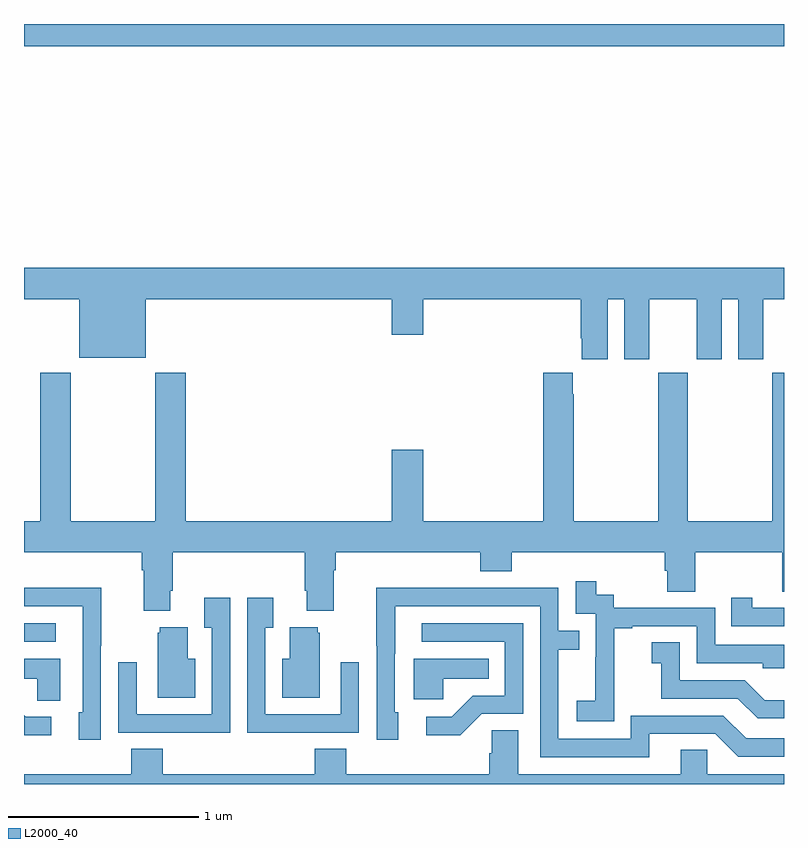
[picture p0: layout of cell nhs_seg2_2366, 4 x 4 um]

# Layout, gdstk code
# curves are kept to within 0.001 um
import gdstk
lib = gdstk.Library(unit=1e-6, precision=1e-09)
def R(c, l, rs):  # rectangles x0, y0, x1, y1
    for r in rs: c.add(gdstk.rectangle(r[:2], r[2:], *l))
def P(c, l, *ps):  # polygons
    for p in ps: c.add(gdstk.Polygon(p, *l))
L2000_40 = (2000, 40)

nhs_seg2_2366 = lib.new_cell('nhs_seg2_2366')
R(nhs_seg2_2366, L2000_40, [(235,596.55,235.168,596.646), (235,599.684,239,599.8)])
P(nhs_seg2_2366, L2000_40, [(238.072,598.352),(238.16,598.352),(238.16,598.035),(238.291,598.035),(238.291,598.352),(238.541,598.352),(238.541,598.035),(238.672,598.035),(238.672,598.352),(238.76,598.352),(238.76,598.035),(238.891,598.035),(238.891,598.352),(239,598.352),(239,598.516),(235,598.516),(235,598.352),(235.292,598.352),(235.292,598.043),(235.642,598.043),(235.642,598.352),(236.936,598.352),(236.936,598.164),(237.1,598.164),(237.1,598.352),(237.929,598.352),(237.929,598.147),(237.935,598.147),(237.935,598.035),(238.072,598.035)],
  [(238.533,597.02),(238.99,597.02),(238.99,596.812),(239,596.812),(239,597.964),(238.939,597.964),(238.939,597.184),(238.494,597.184),(238.494,597.964),(238.339,597.964),(238.339,597.184),(237.894,597.184),(237.894,597.851),(237.889,597.851),(237.889,597.964),(237.734,597.964),(237.734,597.184),(237.1,597.184),(237.1,597.559),(236.936,597.559),(236.936,597.184),(235.85,597.184),(235.85,597.964),(235.69,597.964),(235.69,597.184),(235.245,597.184),(235.245,597.964),(235.085,597.964),(235.085,597.184),(235,597.184),(235,597.02),(235.619,597.02),(235.619,596.924),(235.631,596.924),(235.631,596.711),(235.771,596.711),(235.771,596.818),(235.784,596.818),(235.784,597.02),(236.477,597.02),(236.477,596.818),(236.489,596.818),(236.489,596.711),(236.629,596.711),(236.629,596.924),(236.642,596.924),(236.642,597.02),(237.401,597.02),(237.401,596.921),(237.566,596.921),(237.566,597.02),(238.373,597.02),(238.373,596.922),(238.385,596.922),(238.385,596.812),(238.533,596.812)],
  [(238.107,596.335),(238.106,596.335),(238.106,596.619),(238.201,596.619),(238.201,596.631),(238.542,596.631),(238.542,596.436),(238.887,596.436),(238.887,596.409),(239,596.409),(239,596.532),(238.638,596.532),(238.638,596.727),(238.104,596.727),(238.104,596.796),(238.012,596.796),(238.012,596.866),(237.903,596.866),(237.903,596.697),(238.008,596.697),(238.008,596.468),(238.007,596.468),(238.007,596.239),(237.909,596.239),(237.909,596.129),(238.107,596.129)],
  [(238.291,596.064),(238.638,596.064),(238.758,595.944),(239,595.944),(239,596.04),(238.8,596.04),(238.68,596.16),(238.194,596.16),(238.194,596.037),(237.813,596.037),(237.813,596.506),(237.923,596.506),(237.923,596.607),(237.813,596.607),(237.813,596.832),(237.317,596.832),(237.317,596.834),(236.854,596.834),(236.854,596.527),(236.856,596.527),(236.856,596.034),(236.971,596.034),(236.971,596.178),(236.952,596.178),(236.953,596.736),(237.717,596.736),(237.717,595.941),(238.291,595.941)],
  [(235.404,596.527),(235.407,596.527),(235.407,596.834),(235,596.834),(235,596.736),(235.308,596.736),(235.308,596.178),(235.289,596.178),(235.289,596.034),(235.404,596.034)],
  [(239,596.727),(238.834,596.727),(238.834,596.779),(238.723,596.779),(238.723,596.631),(239,596.631)],
  [(236.447,596.07),(236.763,596.07),(236.763,596.44),(236.667,596.44),(236.667,596.166),(236.271,596.166),(236.271,596.623),(236.311,596.623),(236.311,596.779),(236.175,596.779),(236.175,596.069),(236.447,596.069)],
  [(236.085,596.779),(235.949,596.779),(235.949,596.623),(235.989,596.623),(235.989,596.166),(235.593,596.166),(235.593,596.44),(235.497,596.44),(235.497,596.07),(235.813,596.07),(235.813,596.069),(236.085,596.069)],
  [(237.408,596.169),(237.627,596.169),(237.627,596.646),(237.093,596.646),(237.093,596.55),(237.531,596.55),(237.531,596.265),(237.362,596.265),(237.251,596.154),(237.117,596.154),(237.117,596.057),(237.295,596.057)],
  [(235.9,596.458),(235.861,596.458),(235.861,596.626),(235.715,596.626),(235.715,596.595),(235.703,596.595),(235.703,596.255),(235.9,596.255)],
  [(236.557,596.595),(236.546,596.595),(236.546,596.626),(236.399,596.626),(236.399,596.458),(236.36,596.458),(236.36,596.255),(236.557,596.255)],
  [(239,596.242),(238.898,596.242),(238.794,596.346),(238.452,596.346),(238.452,596.545),(238.305,596.545),(238.305,596.435),(238.354,596.435),(238.354,596.25),(238.757,596.25),(238.862,596.145),(239,596.145)],
  [(235.192,596.458),(235,596.458),(235,596.354),(235.071,596.354),(235.071,596.239),(235.192,596.239)],
  [(237.207,596.354),(237.446,596.354),(237.446,596.458),(237.05,596.458),(237.05,596.246),(237.207,596.246)],
  [(235.144,596.154),(235.009,596.154),(235,596.163),(235,596.057),(235.144,596.057)],
  [(239,595.852),(238.596,595.852),(238.596,595.979),(238.457,595.979),(238.457,595.852),(237.601,595.852),(237.601,596.084),(237.462,596.084),(237.462,595.961),(237.449,595.961),(237.449,595.852),(236.696,595.852),(236.696,595.985),(236.531,595.985),(236.531,595.852),(235.73,595.852),(235.73,595.985),(235.565,595.985),(235.565,595.852),(235,595.852),(235,595.8),(239,595.8)])

lib.write_gds('nhs_seg2_2366.gds')
